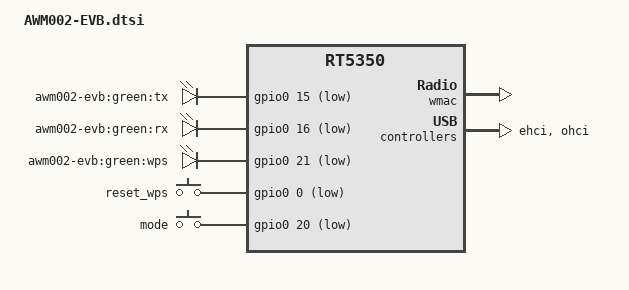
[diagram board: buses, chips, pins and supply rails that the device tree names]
#include "rt5350.dtsi"

#include <dt-bindings/input/input.h>

/ {
	compatible = "asiarf,awm002-evb", "ralink,rt5350-soc";

	gpio-leds {
		compatible = "gpio-leds";

		tx {
			label = "awm002-evb:green:tx";
			gpios = <&gpio0 15 1>;
		};

		rx {
			label = "awm002-evb:green:rx";
			gpios = <&gpio0 16 1>;
		};

		wps {
			label = "awm002-evb:green:wps";
			gpios = <&gpio0 21 1>;
		};
	};

	gpio-keys-polled {
		compatible = "gpio-keys-polled";
		#address-cells = <1>;
		#size-cells = <0>;
		poll-interval = <20>;

		reset_wps {
			label = "reset_wps";
			gpios = <&gpio0 0 1>;
			linux,code = <KEY_RESTART>;
		};

		mode {
			label = "mode";
			gpios = <&gpio0 20 1>;
			linux,code = <BTN_0>;
		};
	};
};

&ethernet {
	mtd-mac-address = <&factory 0x28>;
};

&wmac {
	ralink,mtd-eeprom = <&factory 0>;
};

&pinctrl {
	state_default: pinctrl0 {
		gpio {
			ralink,group = "i2c", "jtag";
			ralink,function = "gpio";
		};
	};
};

&esw {
	mediatek,portmap = <0x3f>;
};

&ehci {
	status = "okay";
};

&ohci {
	status = "okay";
};
